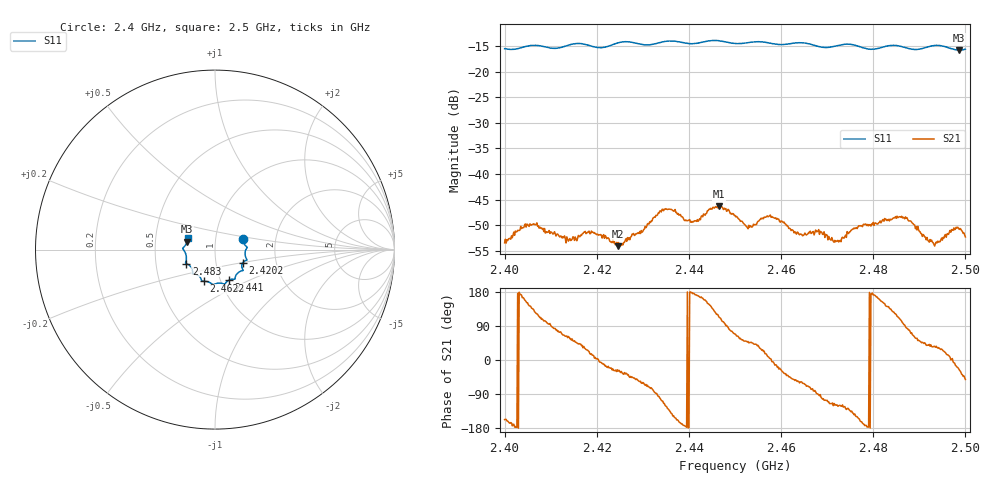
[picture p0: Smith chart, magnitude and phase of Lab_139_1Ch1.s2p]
# Hz S RI R 50
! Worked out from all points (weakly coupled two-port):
!   601 points, 2.4 GHz to 2.5 GHz, reference 50 ohm
!   highest |S21| = -46.28 dB at 2.4465 GHz (marker M1); lowest = -54.1 dB at 2.4245 GHz (marker M2)
!   lowest |S11| = -15.8 dB at 2.4987 GHz (marker M3), VSWR 1.39, Z = 36.4 + j3.31 ohm
!   |S11| at or under -10 dB: start of sweep to end of sweep
!   S12 and S22 are empty: the file has one direction only
!   S11 on the Smith chart (normalised r, x): 2.4 GHz: 1.36, +0.17; 2.4202 GHz: 1.35, -0.20; 2.441 GHz: 1.09, -0.39; 2.4622 GHz: 0.83, -0.30; 2.483 GHz: 0.72, -0.12; 2.5 GHz: 0.73, +0.09
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2.4e9  0.1559 0.0603  -0.00197 -0.000827  0 0  0 0
2.4065e9  0.1798 0.0128  -0.00195 0.00257  0 0  0 0
2.413833e9  0.174 -0.0485  0.00104 0.00196  0 0  0 0
2.416667e9  0.1777 -0.0582  0.00198 0.00156  0 0  0 0
2.420167e9  0.1557 -0.0719  0.0026 0.000166  0 0  0 0
2.4245e9  0.1544 -0.1105  0.00178 -0.000865  0 0  0 0
2.433333e9  0.1129 -0.1526  -0.000439 -0.00415  0 0  0 0
2.436e9  0.1108 -0.1651  -0.00334 -0.00305  0 0  0 0
2.441e9  0.0766 -0.1704  -0.00342 0.000233  0 0  0 0
2.4465e9  0.0503 -0.1933  -0.00194 0.00445  0 0  0 0
2.45e9  0.0263 -0.186  0.00146 0.00368  0 0  0 0
2.453167e9  -0.00157 -0.1923  0.00209 0.00218  0 0  0 0
2.457833e9  -0.0238 -0.1868  0.00378 0.000155  0 0  0 0
2.462167e9  -0.0636 -0.1765  0.0019 -0.00208  0 0  0 0
2.466667e9  -0.0764 -0.1666  0.00058 -0.0026  0 0  0 0
2.4725e9  -0.1182 -0.1362  -0.00111 -0.00188  0 0  0 0
2.483e9  -0.1593 -0.0782  -0.00275 0.00219  0 0  0 0
2.483333e9  -0.161 -0.0774  -0.0028 0.00228  0 0  0 0
2.487e9  -0.1604 -0.0595  0.000166 0.00383  0 0  0 0
2.493333e9  -0.1797 0.0041  0.00161 0.00117  0 0  0 0
2.498667e9  -0.1555 0.0443  0.0026 -0.00126  0 0  0 0
2.5e9  -0.1528 0.0629  0.00152 -0.0019  0 0  0 0
